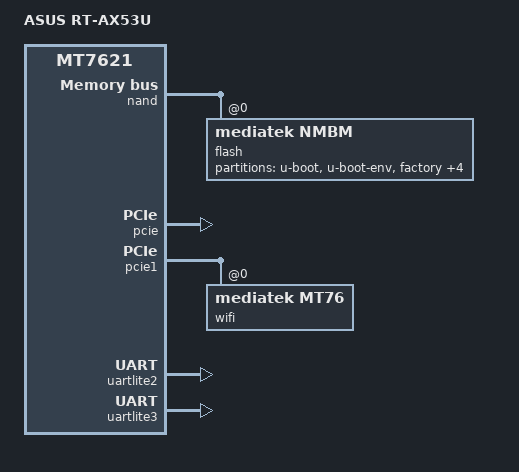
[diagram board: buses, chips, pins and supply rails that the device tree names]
// SPDX-License-Identifier: GPL-2.0-or-later OR MIT

#include "mt7621.dtsi"

#include <dt-bindings/gpio/gpio.h>
#include <dt-bindings/input/input.h>

/ {
	compatible = "asus,rt-ax53u", "mediatek,mt7621-soc";
	model = "ASUS RT-AX53U";

	chosen {
		bootargs = "console=ttyS0,115200n8";
	};

/*	aliases {
		led-boot = &led_sys_yellow;
		led-failsafe = &led_sys_yellow;
		led-running = &led_sys_blue;
		led-upgrade = &led_sys_yellow;
		label-mac-device = &gmac0;
	};

	leds {
		compatible = "gpio-leds";

		led_sys_yellow: sys_yellow {
			label = "yellow:sys";
			gpios = <&gpio 14 GPIO_ACTIVE_LOW>;
		};

		led_sys_blue: sys_blue {
			label = "blue:sys";
			gpios = <&gpio 16 GPIO_ACTIVE_LOW>;
		};

		net_yellow {
			label = "yellow:net";
			gpios = <&gpio 13 GPIO_ACTIVE_LOW>;
		};

		net_blue {
			label = "blue:net";
			gpios = <&gpio 15 GPIO_ACTIVE_LOW>;
		};
	};

	keys {
		compatible = "gpio-keys";

		reset {
			label = "reset";
			gpios = <&gpio 18 GPIO_ACTIVE_LOW>;
			linux,code = <KEY_RESTART>;
		};

		wps {
			label = "wps";
			gpios = <&gpio 7 GPIO_ACTIVE_LOW>;
			linux,code = <KEY_WPS_BUTTON>;
		};
	};

	nmbm {
		compatible = "mediatek,nmbm";
		#address-cells = <1>;
		#size-cells = <1>;

		lower-mtd-device = <&nandflash>;
		forced-create;
	};
*/
};

&nand {
	mediatek,nmbm;
	compatible = "mediatek,nmbm";
	#address-cells = <1>;
	#size-cells = <1>;
	status = "okay";

	flash@0 {
		mediatek,nmbm;
		compatible = "mediatek,nmbm";
		#address-cells = <1>;
		#size-cells = <1>;
		reg = <0>;
/*		nand-ecc-mode = "hw";
*/		partitions {
			compatible = "fixed-partitions";
			#address-cells = <1>;
			#size-cells = <1>;
		partition@0 {
			label = "u-boot";
			reg = <0x0 0xe0000>;
			read-only;
		};

		partition@e0000 {
			label = "u-boot-env";
			reg = <0xe0000 0x100000>;
			read-only;
		};

		factory: partition@1e0000 {
			label = "factory";
			reg = <0x1e0000 0x100000>;
			read-only;
		};

		factory2: partition@2e0000 {
			label = "factory2";
			reg = <0x2e0000 0x100000>;
			read-only;
		};

		partition@3e0000 {
			compatible = "denx,fit";
			label = "kernel";
			reg = <0x3e0000 0x3200000>;
		};

/*		partition@3e0000 {
			label = "firmware";
			reg = <0x3e0000 0x400000>;
		};

		partition@7e0000 {
			label = "rootfs";
			reg = <0x7e0000 0x2e00000>;
		};
*/
		partition@35e0000 {
			label = "kernel2";
			reg = <0x35e0000 0x3200000>;
		};

		partition@67e0000 {
			label = "jffs2";
			reg = <0x67e0000 0x1020000>;
		};

		/*
		 * Leave 512 KiB for the bad block table
		 */
		};
	};
};

&pcie {
	status = "okay";
};

&pcie1 {
	wifi@0,0 {
		compatible = "mediatek,mt76";
		reg = <0x0000 0 0 0 0>;
		mediatek,mtd-eeprom = <&factory 0x0>;
	};
};

&gmac0 {
	nvmem-cells = <&macaddr_factory_4>;
	nvmem-cell-names = "mac-address";
};

&switch0 {
	ports {
		port@0 {
			status = "okay";
			label = "lan1";
		};

		port@1 {
			status = "okay";
			label = "lan2";
		};

		port@2 {
			status = "okay";
			label = "lan3";
		};

		port@4 {
			status = "okay";
			label = "wan";
			nvmem-cells = <&macaddr_factory_a>;
			nvmem-cell-names = "mac-address";
		};
	};
};

/*&state_default {
	gpio {
		groups = "i2c", "uart2", "uart3", "jtag", "wdt";
		function = "gpio";
	};
};
*/
/*&pinctrl {
	state_default: pinctrl0 {
		gpio {
			group = "i2c";
			function = "gpio";
		};

		uart2 {
			group = "uart2";
			function = "gpio";
		};

		uart3 {
			group = "uart3";
			function = "gpio";
		};

		jtag {
			group = "jtag";
			function = "gpio";
		};

		wdt {
			group = "wdt";
			function = "gpio";
		};
	};
};
*/
&factory {
	compatible = "nvmem-cells";
	#address-cells = <1>;
	#size-cells = <1>;

	macaddr_factory_4: macaddr@4 {
		reg = <0x4 0x6>;
	};

	macaddr_factory_a: macaddr@a {
		reg = <0xa 0x6>;
	};
};

&uartlite2 {
	status = "okay";
};

&uartlite3 {
	status = "okay";
};
